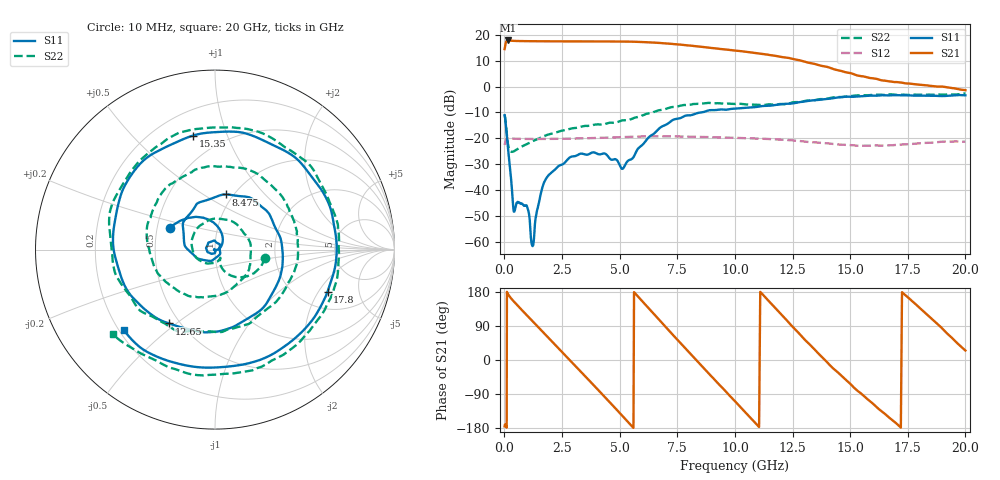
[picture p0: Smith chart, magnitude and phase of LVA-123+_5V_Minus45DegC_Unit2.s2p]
!Mini-Circuits Laboratory
!Date: 7/15/2015 at 12:42:15 PM
!S2P DATA File Format
!Type: MMIC Amplifier
!Model: LVA-123+
!S/N: Unit 2
!Fixture: Unit soldered on TB-841+, no port extension
!PIN OUT: PORT 1 - PIN 2, PORT 2 - PIN 5, GROUND - PADDLE, NOT CONNECTED - ALL OTHER PINS
!TEST CONDITIONS: Temp= -45 (Deg C) RF Power= -25.00 (dBm) V limit=5(V) I limit=150(mA) Z=50 OHM
!PROD RUN: Q16010, DATE CODE: 1527
!WAFER/LOT#: BH175P001-02-01EV
!Network Analyzer: PNA-X N5242A S/N 71404 CAL DUE: 12/5/2015
!P.Supply/Multimeter: HP E3632A S/N 63249 CAL DUE: 12/11/2015
# Hz  S  dB  R  50
!Frequency  S11 dB  S11 Deg  S21 dB  S21 Deg  S12 dB  S12 Deg  S22 dB  S22 Deg
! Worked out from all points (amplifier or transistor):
!   660 points, 10 MHz to 20 GHz, reference 50 ohm
!   highest |S21| = 17.9 dB at 170 MHz (marker M1)
!   |S21| within 3 dB of that: 17.16 MHz to 9.094 GHz (9.077 GHz wide, 199 % of centre)
!   unconditionally stable (mu >= 1): start of sweep to 4.805 GHz; 16.25 GHz to end of sweep
!   at 1.275 GHz: K = 1.04, MAG = 17.6 dB, |S12| = -20.3 dB
!   at 6.775 GHz: K = 0.96, MSG = 18.0 dB, |S12| = -19.2 dB
!   at 20 GHz: K = 1.22, MAG = 7.1 dB, |S12| = -21.3 dB
!   S11 on the Smith chart (normalised r, x): 10 MHz: 0.58, +0.15; 8.475 GHz: 0.92, +0.63; 12.65 GHz: 0.44, -0.47; 15.35 GHz: 0.35, +0.77; 17.8 GHz: 2.85, -2.42; 20 GHz: 0.22, -0.36
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1e7  -11.09 155.0  14.50 -175.1  -22.59 7.5  -10.92 -9.4
1.7e8  -25.02 42.0  17.85 172.7  -19.89 -6.1  -22.97 -67.5
8.9e8  -46.12 147.9  17.59 123.5  -20.26 -44.9  -22.62 -92.9
1.575e9  -41.61 -77.5  17.54 80.0  -20.27 -78.9  -19.75 -142.9
2.525e9  -30.09 -134.6  17.50 19.6  -20.19 -126.1  -17.02 153.5
3.35e9  -25.91 170.0  17.48 -32.9  -20.05 -167.3  -15.47 99.7
4.325e9  -25.86 93.6  17.47 -95.6  -19.79 143.4  -14.64 29.7
5.35e9  -28.82 -36.8  17.40 -162.6  -19.45 90.3  -12.98 -52.8
5.95e9  -22.87 -119.6  17.26 157.2  -19.29 58.3  -11.30 -102.6
6.675e9  -16.56 -179.1  16.93 108.8  -19.21 19.2  -9.22 -158.2
7.675e9  -12.05 120.5  16.21 42.2  -19.29 -34.8  -7.32 134.8
8.475e9  -10.08 78.7  15.48 -10.2  -19.44 -77.7  -6.65 85.1
9.275e9  -8.92 38.3  14.69 -62.1  -19.64 -120.3  -6.44 40.2
1.005e10  -8.52 0.3  13.89 -112.0  -19.84 -162.4  -6.67 0.0
1.115e10  -7.58 -48.3  12.69 176.6  -20.15 139.5  -7.14 -50.6
1.19e10  -6.92 -83.5  11.66 127.8  -20.53 99.3  -6.81 -83.3
1.265e10  -6.30 -121.9  10.42 78.7  -20.95 59.1  -6.01 -116.7
1.335e10  -5.35 -156.2  8.97 34.7  -21.51 23.1  -5.39 -148.8
1.535e10  -3.78 100.8  4.23 -82.7  -22.89 -75.2  -3.36 108.6
1.67e10  -3.42 34.9  2.02 -152.3  -22.75 -138.3  -3.00 42.8
1.78e10  -3.49 -20.4  0.92 149.7  -22.14 166.7  -3.11 -15.0
2e10  -3.38 -138.4  -1.39 25.1  -21.31 45.7  -2.63 -140.3
